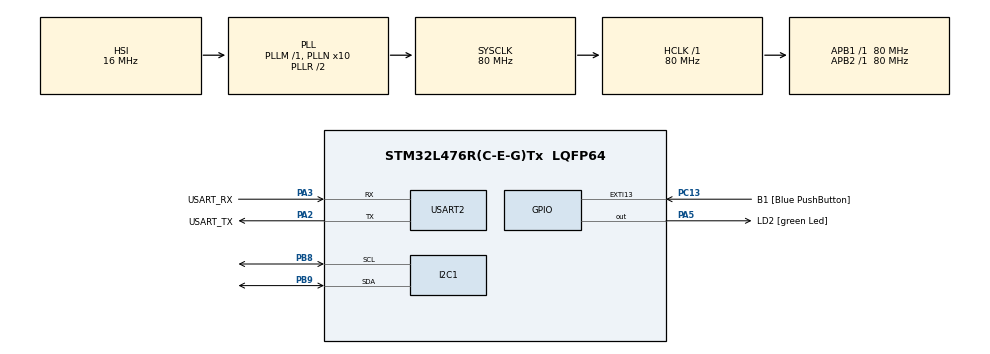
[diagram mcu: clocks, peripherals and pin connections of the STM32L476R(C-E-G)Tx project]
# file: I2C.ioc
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I2C1.Timing=0x10D19CE4
Mcu.Family=STM32L4
Mcu.Name=STM32L476R(C-E-G)Tx
Mcu.Package=LQFP64
NVIC.PriorityGroup=NVIC_PRIORITYGROUP_4
PA13\ (JTMS-SWDIO).GPIO_Label=TMS
PA13\ (JTMS-SWDIO).Mode=Serial_Wire
PA13\ (JTMS-SWDIO).Signal=SYS_JTMS-SWDIO
PA14\ (JTCK-SWCLK).GPIO_Label=TCK
PA14\ (JTCK-SWCLK).Mode=Serial_Wire
PA14\ (JTCK-SWCLK).Signal=SYS_JTCK-SWCLK
PA2.GPIO_Label=USART_TX
PA2.GPIO_Mode=GPIO_MODE_AF_PP
PA2.GPIO_PuPd=GPIO_NOPULL
PA2.GPIO_Speed=GPIO_SPEED_FREQ_VERY_HIGH
PA2.Mode=Asynchronous
PA2.Signal=USART2_TX
PA3.GPIO_Label=USART_RX
PA3.GPIO_Mode=GPIO_MODE_AF_PP
PA3.GPIO_PuPd=GPIO_NOPULL
PA3.GPIO_Speed=GPIO_SPEED_FREQ_VERY_HIGH
PA3.Mode=Asynchronous
PA3.Signal=USART2_RX
PA5.GPIO_Label=LD2 [green Led]
PA5.GPIO_ModeDefaultOutputPP=GPIO_MODE_OUTPUT_PP
PA5.GPIO_PuPd=GPIO_NOPULL
PA5.GPIO_Speed=GPIO_SPEED_FREQ_LOW
PA5.Signal=GPIO_Output
PB3\ (JTDO-TRACESWO).GPIO_Label=SWO
PB3\ (JTDO-TRACESWO).Signal=SYS_JTDO-SWO
PB8.Mode=I2C
PB8.Signal=I2C1_SCL
PB9.Mode=I2C
PB9.Signal=I2C1_SDA
PC13.GPIO_Label=B1 [Blue PushButton]
PC13.GPIO_ModeDefaultEXTI=GPIO_MODE_IT_FALLING
PC13.GPIO_PuPd=GPIO_NOPULL
PC13.Signal=GPXTI13
PC14-OSC32_IN\ (PC14).Mode=LSE-External-Oscillator
PC14-OSC32_IN\ (PC14).Signal=RCC_OSC32_IN
PC15-OSC32_OUT\ (PC15).Mode=LSE-External-Oscillator
PC15-OSC32_OUT\ (PC15).Signal=RCC_OSC32_OUT
PH0-OSC_IN\ (PH0).Signal=RCC_OSC_IN
PH1-OSC_OUT\ (PH1).Signal=RCC_OSC_OUT
ProjectManager.HeapSize=0x200
ProjectManager.StackSize=0x400
ProjectManager.TargetToolchain=STM32CubeIDE
RCC.ADCFreq_Value=64000000
RCC.AHBFreq_Value=80000000
RCC.APB1Freq_Value=80000000
RCC.APB1TimFreq_Value=80000000
RCC.APB2Freq_Value=80000000
RCC.APB2TimFreq_Value=80000000
RCC.CortexFreq_Value=80000000
RCC.HCLKFreq_Value=80000000
RCC.HSE_VALUE=8000000
RCC.HSI_VALUE=16000000
RCC.MSI_VALUE=4000000
RCC.PLLN=10
RCC.PLLSourceVirtual=RCC_PLLSOURCE_HSI
RCC.PREFETCH_ENABLE=1
RCC.SYSCLKFreq_VALUE=80000000
RCC.SYSCLKSource=RCC_SYSCLKSOURCE_PLLCLK
RCC.USBFreq_Value=64000000
RCC.VCOOutputFreq_Value=160000000
USART2.VirtualMode-Asynchronous=VM_ASYNC
board=NUCLEO-L476RG

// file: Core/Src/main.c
/* USER CODE BEGIN Header */
/**
  ******************************************************************************
  * @file           : main.c
  * @brief          : Main program body
  ******************************************************************************
  * @attention
  *
  * Copyright (c) 2024 STMicroelectronics.
  * All rights reserved.
  *
  * This software is licensed under terms that can be found in the LICENSE file
  * in the root directory of this software component.
  * If no LICENSE file comes with this software, it is provided AS-IS.
  *
  ******************************************************************************
  */
/* USER CODE END Header */
#include "main.h"

/* USER CODE BEGIN Includes */
#include "string.h"
#include "stdio.h"
/* USER CODE END Includes */

I2C_HandleTypeDef hi2c1;

UART_HandleTypeDef huart2;

/* USER CODE BEGIN PV */
#define IMU 0x68 << 1
#define ACC_CFG 0x1C
#define GYR_CFG 0x1B
#define PWR_REG1 0x6B
#define	CFG_REG 0x1A

#define ACC_REG 0x3B
//#define ACCY_R1 0x3D
//#define ACCZ_R1 0x3F

#define GYR_REG 0x43
//#define GYRY_R1 0x45
//#define GYRZ_R1 0x47

//const uint8_t ACC_REG0 = 0x68;
//const uint8_t ACC_REG1 = 0x68;

//const uint8_t GYR_REG0 = 0x68;
//const uint8_t GYR_REG1 = 0x68;

float GyrX, GyrY, GyrZ;
float AccX, AccY, AccZ;
//Calibration Variables
float Cal_GyrX = 0;
float Cal_GyrY = 0;
float Cal_GyrZ = 0;

float Cal_AccX = 0;
float Cal_AccY = 0;
float Cal_AccZ = 0;

/* USER CODE END PV */

void SystemClock_Config(void);
static void MX_GPIO_Init(void);
static void MX_USART2_UART_Init(void);
static void MX_I2C1_Init(void);
/* USER CODE BEGIN PFP */
void IMU_Init(void);
void Read_Accel(void);
void Read_Gyr(void);
/* USER CODE END PFP */

int main(void)
{

  /* USER CODE BEGIN 1 */
	uint8_t buf [50];
  /* USER CODE END 1 */

  /* MCU Configuration--------------------------------------------------------*/

  /* Reset of all peripherals, Initializes the Flash interface and the Systick. */
  HAL_Init();

  /* Configure the system clock */
  SystemClock_Config();

  /* Initialize all configured peripherals */
  MX_GPIO_Init();
  MX_USART2_UART_Init();
  MX_I2C1_Init();
  /* USER CODE BEGIN 2 */
  IMU_Init();

  for (int i =0; i < 2000; i++) {
	  Read_Accel();
	  Cal_AccX += AccX;
	  Cal_AccY += AccY;
	  Cal_AccZ += AccZ;
	  Read_Gyr();
	  Cal_GyrX += GyrX;
	  Cal_GyrY += GyrY;
	  Cal_GyrZ += GyrZ;
	  HAL_Delay(2);

  }

  Cal_AccX /= 2000;
  Cal_AccY /= 2000;
  Cal_AccZ = 1-(Cal_AccZ/2000);

  Cal_GyrX /= 2000;
  Cal_GyrY /= 2000;
  Cal_GyrZ /= 2000;

  HAL_GPIO_WritePin(GPIOA, GPIO_PIN_5, 1);
  /* USER CODE END 2 */

  /* Infinite loop */
  while (1)
  {
	  strcpy((char*)buf, "Reading Acc.\r\n");
	  HAL_UART_Transmit(&huart2, buf, strlen((char*)buf), 1000);
	  Read_Accel();
	  sprintf((char*)buf, "X: %.2f, Y: %.2f, Z: %.2f\r\n", AccX-Cal_AccX, AccY-Cal_AccY, AccZ+Cal_AccZ);
	  HAL_UART_Transmit(&huart2, buf, strlen((char*)buf), 1000);

	  strcpy((char*)buf, "Reading Rot.\r\n");
	  HAL_UART_Transmit(&huart2, buf, strlen((char*)buf), 1000);
	  Read_Gyr();
	  sprintf((char*)buf, "X: %.2f, Y: %.2f, Z: %.2f\r\n", GyrX-Cal_GyrX, GyrY-Cal_GyrY, GyrZ-Cal_GyrZ);
	  HAL_UART_Transmit(&huart2, buf, strlen((char*)buf), 1000);

	  HAL_Delay(500);
  }
}

void SystemClock_Config(void)
{
  RCC_OscInitTypeDef RCC_OscInitStruct = {0};
  RCC_ClkInitTypeDef RCC_ClkInitStruct = {0};

  /** Configure the main internal regulator output voltage
  */
  if (HAL_PWREx_ControlVoltageScaling(PWR_REGULATOR_VOLTAGE_SCALE1) != HAL_OK)
  {
    Error_Handler();
  }

  /** Initializes the RCC Oscillators according to the specified parameters
  * in the RCC_OscInitTypeDef structure.
  */
  RCC_OscInitStruct.OscillatorType = RCC_OSCILLATORTYPE_HSI;
  RCC_OscInitStruct.HSIState = RCC_HSI_ON;
  RCC_OscInitStruct.HSICalibrationValue = RCC_HSICALIBRATION_DEFAULT;
  RCC_OscInitStruct.PLL.PLLState = RCC_PLL_ON;
  RCC_OscInitStruct.PLL.PLLSource = RCC_PLLSOURCE_HSI;
  RCC_OscInitStruct.PLL.PLLM = 1;
  RCC_OscInitStruct.PLL.PLLN = 10;
  RCC_OscInitStruct.PLL.PLLP = RCC_PLLP_DIV7;
  RCC_OscInitStruct.PLL.PLLQ = RCC_PLLQ_DIV2;
  RCC_OscInitStruct.PLL.PLLR = RCC_PLLR_DIV2;
  if (HAL_RCC_OscConfig(&RCC_OscInitStruct) != HAL_OK)
  {
    Error_Handler();
  }

  /** Initializes the CPU, AHB and APB buses clocks
  */
  RCC_ClkInitStruct.ClockType = RCC_CLOCKTYPE_HCLK|RCC_CLOCKTYPE_SYSCLK
                              |RCC_CLOCKTYPE_PCLK1|RCC_CLOCKTYPE_PCLK2;
  RCC_ClkInitStruct.SYSCLKSource = RCC_SYSCLKSOURCE_PLLCLK;
  RCC_ClkInitStruct.AHBCLKDivider = RCC_SYSCLK_DIV1;
  RCC_ClkInitStruct.APB1CLKDivider = RCC_HCLK_DIV1;
  RCC_ClkInitStruct.APB2CLKDivider = RCC_HCLK_DIV1;

  if (HAL_RCC_ClockConfig(&RCC_ClkInitStruct, FLASH_LATENCY_4) != HAL_OK)
  {
    Error_Handler();
  }
}

static void MX_I2C1_Init(void)
{

  hi2c1.Instance = I2C1;
  hi2c1.Init.Timing = 0x10D19CE4;
  hi2c1.Init.OwnAddress1 = 0;
  hi2c1.Init.AddressingMode = I2C_ADDRESSINGMODE_7BIT;
  hi2c1.Init.DualAddressMode = I2C_DUALADDRESS_DISABLE;
  hi2c1.Init.OwnAddress2 = 0;
  hi2c1.Init.OwnAddress2Masks = I2C_OA2_NOMASK;
  hi2c1.Init.GeneralCallMode = I2C_GENERALCALL_DISABLE;
  hi2c1.Init.NoStretchMode = I2C_NOSTRETCH_DISABLE;
  if (HAL_I2C_Init(&hi2c1) != HAL_OK)
  {
    Error_Handler();
  }

  /** Configure Analogue filter
  */
  if (HAL_I2CEx_ConfigAnalogFilter(&hi2c1, I2C_ANALOGFILTER_ENABLE) != HAL_OK)
  {
    Error_Handler();
  }

  /** Configure Digital filter
  */
  if (HAL_I2CEx_ConfigDigitalFilter(&hi2c1, 0) != HAL_OK)
  {
    Error_Handler();
  }

}

static void MX_USART2_UART_Init(void)
{

  huart2.Instance = USART2;
  huart2.Init.BaudRate = 115200;
  huart2.Init.WordLength = UART_WORDLENGTH_8B;
  huart2.Init.StopBits = UART_STOPBITS_1;
  huart2.Init.Parity = UART_PARITY_NONE;
  huart2.Init.Mode = UART_MODE_TX_RX;
  huart2.Init.HwFlowCtl = UART_HWCONTROL_NONE;
  huart2.Init.OverSampling = UART_OVERSAMPLING_16;
  huart2.Init.OneBitSampling = UART_ONE_BIT_SAMPLE_DISABLE;
  huart2.AdvancedInit.AdvFeatureInit = UART_ADVFEATURE_NO_INIT;
  if (HAL_UART_Init(&huart2) != HAL_OK)
  {
    Error_Handler();
  }

}

static void MX_GPIO_Init(void)
{
  GPIO_InitTypeDef GPIO_InitStruct = {0};

  /* GPIO Ports Clock Enable */
  __HAL_RCC_GPIOC_CLK_ENABLE();
  __HAL_RCC_GPIOH_CLK_ENABLE();
  __HAL_RCC_GPIOA_CLK_ENABLE();
  __HAL_RCC_GPIOB_CLK_ENABLE();

  /*Configure GPIO pin Output Level */
  HAL_GPIO_WritePin(LD2_GPIO_Port, LD2_Pin, GPIO_PIN_RESET);

  /*Configure GPIO pin : B1_Pin */
  GPIO_InitStruct.Pin = B1_Pin;
  GPIO_InitStruct.Mode = GPIO_MODE_IT_FALLING;
  GPIO_InitStruct.Pull = GPIO_NOPULL;
  HAL_GPIO_Init(B1_GPIO_Port, &GPIO_InitStruct);

  /*Configure GPIO pin : LD2_Pin */
  GPIO_InitStruct.Pin = LD2_Pin;
  GPIO_InitStruct.Mode = GPIO_MODE_OUTPUT_PP;
  GPIO_InitStruct.Pull = GPIO_NOPULL;
  GPIO_InitStruct.Speed = GPIO_SPEED_FREQ_LOW;
  HAL_GPIO_Init(LD2_GPIO_Port, &GPIO_InitStruct);

}

/* USER CODE BEGIN 4 */
void IMU_Init(void) {
	HAL_StatusTypeDef ret;
	uint8_t Data = 0;

	Data = 0x00;	//POWER CONFIG
	ret = HAL_I2C_Mem_Write(&hi2c1, IMU, PWR_REG1, 1, &Data, 1, 1000);

	Data = 0x05;	//LOW PASS FILTER CONFIG
	ret = HAL_I2C_Mem_Write(&hi2c1, IMU, CFG_REG, 1, &Data, 1, 1000);

	Data = 0x10;	//ACC CONFIG: 8G
	ret = HAL_I2C_Mem_Write(&hi2c1, IMU, ACC_CFG, 1, &Data, 1, 1000);

	Data = 0x08;	//GYRO CONFIG: 8G
	ret = HAL_I2C_Mem_Write(&hi2c1, IMU, GYR_CFG, 1, &Data, 1, 1000);

}

void Read_Accel(void) {
	uint8_t Acc_Val [6];

	HAL_I2C_Mem_Read(&hi2c1, IMU, ACC_REG, 1, Acc_Val, 6, 1000);

	int16_t AccX_Raw = ((Acc_Val[0]<<8) | Acc_Val[1]);
	int16_t AccY_Raw = ((Acc_Val[2]<<8) | Acc_Val[3]);
	int16_t AccZ_Raw = ((Acc_Val[4]<<8) | Acc_Val[5]);

	AccX = ((float)AccX_Raw/4096);
	AccY = ((float)AccY_Raw/4096);
	AccZ = -1*((float)AccZ_Raw/4096);
}

void Read_Gyr(void) {
	uint8_t Gyr_Val [6];

	HAL_I2C_Mem_Read(&hi2c1, IMU, GYR_REG, 1, Gyr_Val, 6, 1000);

	int16_t GyrX_Raw = ((Gyr_Val[0]<<8) | Gyr_Val[1]);
	int16_t GyrY_Raw = ((Gyr_Val[2]<<8) | Gyr_Val[3]);
	int16_t GyrZ_Raw = ((Gyr_Val[4]<<8) | Gyr_Val[5]);

	GyrX = ((float)GyrX_Raw/65.5);
	GyrY = ((float)GyrY_Raw/65.5);
	GyrZ = ((float)GyrZ_Raw/65.5);
}
/* USER CODE END 4 */

void Error_Handler(void)
{
  __disable_irq();
  while (1)
  {
  }
}
